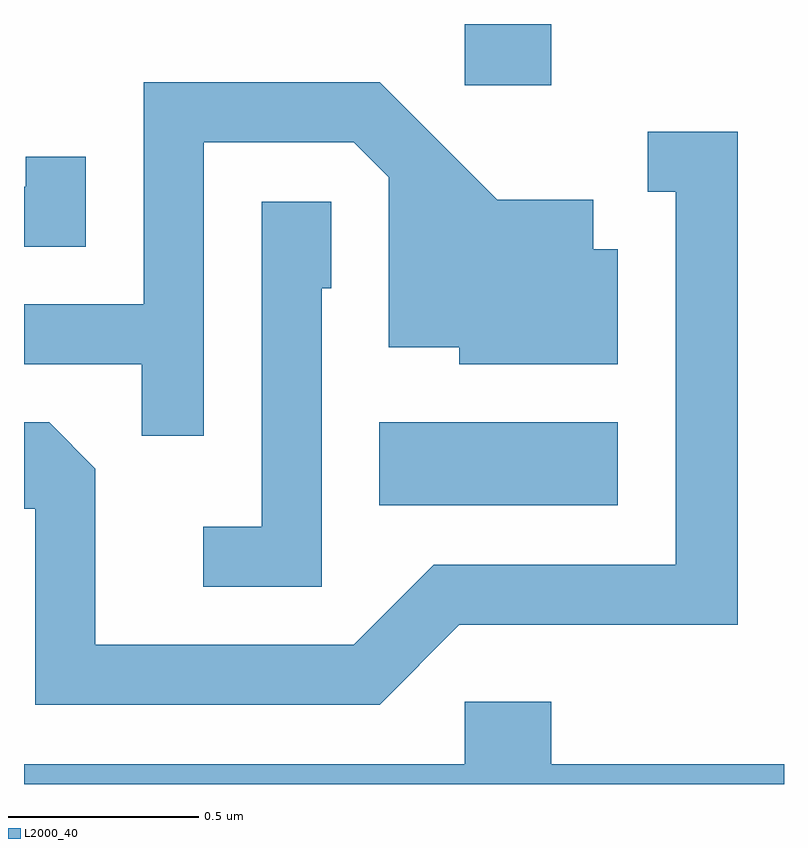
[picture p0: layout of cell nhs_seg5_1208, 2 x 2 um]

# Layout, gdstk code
import gdstk
lib = gdstk.Library(unit=1e-6, precision=1e-09)
def R(c, l, rs):  # rectangles x0, y0, x1, y1
    for r in rs: c.add(gdstk.rectangle(r[:2], r[2:], *l))
def P(c, l, *ps):  # polygons
    for p in ps: c.add(gdstk.Polygon(p, *l))
L2000_40 = (2000, 40)

nhs_seg5_1208 = lib.new_cell('nhs_seg5_1208')
R(nhs_seg5_1208, L2000_40, [(194.546,1508.806,195.174,1509.024), (194.771,1509.911,194.999,1510.072)])
P(nhs_seg5_1208, L2000_40, [(194.084,1509.761),(194.479,1509.761),(194.571,1509.669),(194.571,1509.221),(194.756,1509.221),(194.756,1509.176),(195.174,1509.176),(195.174,1509.479),(195.109,1509.479),(195.109,1509.609),(194.857,1509.609),(194.547,1509.919),(193.926,1509.919),(193.926,1509.334),(193.611,1509.334),(193.611,1509.176),(193.921,1509.176),(193.921,1508.988),(194.084,1508.988)],
  [(194.757,1508.491),(195.489,1508.491),(195.489,1509.789),(195.253,1509.789),(195.253,1509.631),(195.326,1509.631),(195.326,1508.649),(194.689,1508.649),(194.479,1508.439),(193.799,1508.439),(193.799,1508.902),(193.677,1509.024),(193.611,1509.024),(193.611,1508.796),(193.641,1508.796),(193.641,1508.281),(194.547,1508.281)],
  [(193.774,1509.723),(193.616,1509.723),(193.616,1509.644),(193.611,1509.644),(193.611,1509.486),(193.774,1509.486)],
  [(194.394,1509.376),(194.419,1509.376),(194.419,1509.604),(194.236,1509.604),(194.236,1508.749),(194.083,1508.749),(194.083,1508.591),(194.394,1508.591)],
  [(195.611,1508.124),(194.999,1508.124),(194.999,1508.289),(194.771,1508.289),(194.771,1508.124),(193.611,1508.124),(193.611,1508.072),(195.611,1508.072)])

lib.write_gds('nhs_seg5_1208.gds')
